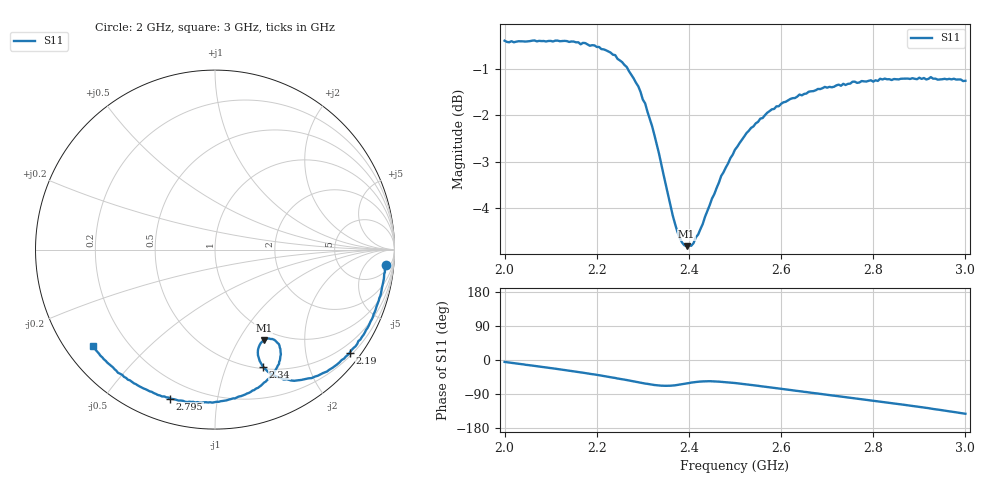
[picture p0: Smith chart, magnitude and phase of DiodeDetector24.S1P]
!Agilent Technologies,E5071C,MY46107443,A.09.30
!Date: Thu Jun 13 11:19:55 2013
!Data & Calibration Information:
!Freq	S11:SOLT2(ON)
# Hz S dB R 50
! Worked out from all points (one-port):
!   201 points, 2 GHz to 3 GHz, reference 50 ohm
!   lowest |S11| = -4.8 dB at 2.395 GHz (marker M1), VSWR 3.70, Z = 42.6 - j64.4 ohm
!   |S11| at or under -10 dB: nowhere
!   S11 on the Smith chart (normalised r, x): 2 GHz: 9, -18; 2.19 GHz: 0.27, -2.93; 2.34 GHz: 0.52, -1.35; 2.795 GHz: 0.11, -0.74; 3 GHz: 0.08, -0.34
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2e9  -0.39 -5.1
2.065e9  -0.38 -15.6
2.125e9  -0.40 -25.4
2.15e9  -0.41 -29.9
2.19e9  -0.49 -37.4
2.23e9  -0.65 -45.3
2.25e9  -0.81 -49.7
2.265e9  -0.96 -53.0
2.295e9  -1.49 -59.9
2.32e9  -2.23 -64.9
2.34e9  -3.05 -67.7
2.36e9  -3.94 -67.9
2.375e9  -4.50 -65.8
2.395e9  -4.81 -61.8
2.42e9  -4.56 -57.4
2.445e9  -3.93 -55.9
2.475e9  -3.22 -57.9
2.5e9  -2.74 -60.7
2.555e9  -2.07 -69.0
2.58e9  -1.87 -72.7
2.625e9  -1.63 -79.9
2.695e9  -1.38 -91.0
2.75e9  -1.31 -99.6
2.795e9  -1.24 -106.7
2.825e9  -1.21 -111.5
2.875e9  -1.21 -119.6
2.925e9  -1.17 -128.3
3e9  -1.25 -141.8
